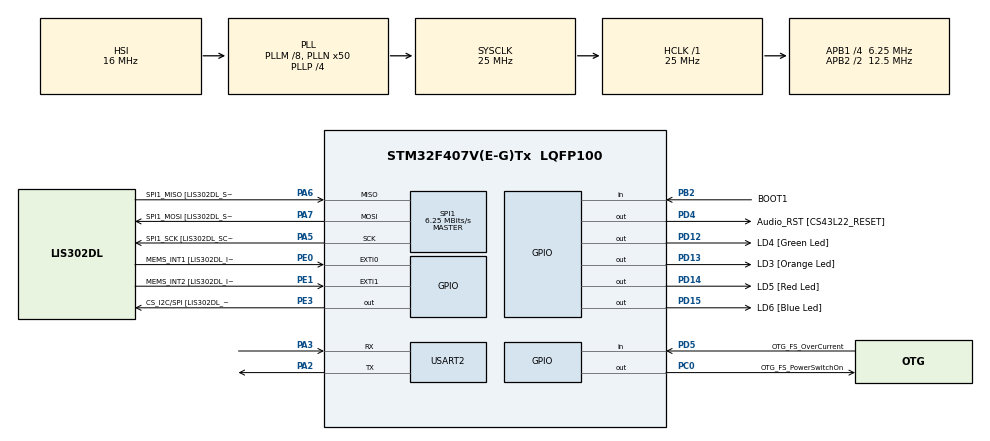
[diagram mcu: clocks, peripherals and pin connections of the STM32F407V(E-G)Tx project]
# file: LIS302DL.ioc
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Mcu.Family=STM32F4
Mcu.Name=STM32F407V(E-G)Tx
Mcu.Package=LQFP100
NVIC.PriorityGroup=NVIC_PRIORITYGROUP_0
PA10.GPIO_Label=OTG_FS_ID
PA10.GPIO_Mode=GPIO_MODE_AF_PP
PA10.GPIO_PuPd=GPIO_NOPULL
PA10.GPIO_Speed=GPIO_SPEED_FREQ_LOW
PA10.Signal=USB_OTG_FS_ID
PA11.GPIO_Label=OTG_FS_DM
PA11.GPIO_Mode=GPIO_MODE_AF_PP
PA11.GPIO_PuPd=GPIO_NOPULL
PA11.GPIO_Speed=GPIO_SPEED_FREQ_LOW
PA11.Signal=USB_OTG_FS_DM
PA12.GPIO_Label=OTG_FS_DP
PA12.GPIO_Mode=GPIO_MODE_AF_PP
PA12.GPIO_PuPd=GPIO_NOPULL
PA12.GPIO_Speed=GPIO_SPEED_FREQ_LOW
PA12.Signal=USB_OTG_FS_DP
PA13.GPIO_Label=SWDIO
PA13.Signal=SYS_JTMS-SWDIO
PA14.GPIO_Label=SWCLK
PA14.Signal=SYS_JTCK-SWCLK
PA2.Mode=Asynchronous
PA2.Signal=USART2_TX
PA3.Mode=Asynchronous
PA3.Signal=USART2_RX
PA4.GPIO_Label=I2S3_WS [CS43L22_LRCK]
PA4.GPIO_Mode=GPIO_MODE_AF_PP
PA4.GPIO_PuPd=GPIO_NOPULL
PA4.GPIO_Speed=GPIO_SPEED_FREQ_LOW
PA4.Signal=I2S3_WS
PA5.GPIO_Label=SPI1_SCK [LIS302DL_SCL/SPC]
PA5.GPIO_Mode=GPIO_MODE_AF_PP
PA5.GPIO_PuPd=GPIO_NOPULL
PA5.GPIO_Speed=GPIO_SPEED_FREQ_LOW
PA5.Mode=Full_Duplex_Master
PA5.Signal=SPI1_SCK
PA6.GPIO_Label=SPI1_MISO [LIS302DL_SDO]
PA6.GPIO_Mode=GPIO_MODE_AF_PP
PA6.GPIO_PuPd=GPIO_NOPULL
PA6.GPIO_Speed=GPIO_SPEED_FREQ_LOW
PA6.Mode=Full_Duplex_Master
PA6.Signal=SPI1_MISO
PA7.GPIO_Label=SPI1_MOSI [LIS302DL_SDA/SDI/SDO]
PA7.GPIO_Mode=GPIO_MODE_AF_PP
PA7.GPIO_PuPd=GPIO_NOPULL
PA7.GPIO_Speed=GPIO_SPEED_FREQ_LOW
PA7.Mode=Full_Duplex_Master
PA7.Signal=SPI1_MOSI
PA9.GPIO_Label=VBUS_FS
PA9.GPIO_Mode=GPIO_MODE_INPUT
PA9.GPIO_PuPd=GPIO_NOPULL
PA9.Signal=USB_OTG_FS_VBUS
PB10.GPIO_Label=CLK_IN [MP45DT02_CLK]
PB10.GPIO_Mode=GPIO_MODE_AF_PP
PB10.GPIO_PuPd=GPIO_NOPULL
PB10.GPIO_Speed=GPIO_SPEED_FREQ_LOW
PB10.Signal=I2S2_CK
PB2.GPIO_Label=BOOT1
PB2.GPIO_Mode=GPIO_MODE_INPUT
PB2.GPIO_PuPd=GPIO_NOPULL
PB2.Signal=GPIO_Input
PB3.GPIO_Label=SWO
PB3.Signal=SYS_JTDO-SWO
PB6.GPIO_Label=Audio_SCL [CS43L22_SCL]
PB6.GPIO_Mode=GPIO_MODE_AF_OD
PB6.GPIO_PuPd=GPIO_NOPULL
PB6.GPIO_Speed=GPIO_SPEED_FREQ_LOW
PB6.Signal=I2C1_SCL
PB9.GPIO_Label=Audio_SDA [CS43L22_SDA]
PB9.GPIO_Mode=GPIO_MODE_AF_OD
PB9.GPIO_PuPd=GPIO_NOPULL
PB9.GPIO_Speed=GPIO_SPEED_FREQ_LOW
PB9.Signal=I2C1_SDA
PC0.GPIO_Label=OTG_FS_PowerSwitchOn
PC0.GPIO_PuPd=GPIO_NOPULL
PC0.GPIO_Speed=GPIO_SPEED_FREQ_LOW
PC0.PinState=GPIO_PIN_SET
PC0.Signal=GPIO_Output
PC10.GPIO_Label=I2S3_SCK [CS43L22_SCLK]
PC10.GPIO_Mode=GPIO_MODE_AF_PP
PC10.GPIO_PuPd=GPIO_NOPULL
PC10.GPIO_Speed=GPIO_SPEED_FREQ_LOW
PC10.Signal=I2S3_CK
PC12.GPIO_Label=I2S3_SD [CS43L22_SDIN]
PC12.GPIO_Mode=GPIO_MODE_AF_PP
PC12.GPIO_PuPd=GPIO_NOPULL
PC12.GPIO_Speed=GPIO_SPEED_FREQ_LOW
PC12.Signal=I2S3_SD
PC14-OSC32_IN.GPIO_Label=PC14-OSC32_IN
PC14-OSC32_IN.Signal=RCC_OSC32_IN
PC15-OSC32_OUT.GPIO_Label=PC15-OSC32_OUT
PC15-OSC32_OUT.Signal=RCC_OSC32_OUT
PC3.GPIO_Label=PDM_OUT [MP45DT02_DOUT]
PC3.GPIO_Mode=GPIO_MODE_AF_PP
PC3.GPIO_PuPd=GPIO_NOPULL
PC3.GPIO_Speed=GPIO_SPEED_FREQ_LOW
PC3.Signal=I2S2_SD
PC7.GPIO_Label=I2S3_MCK [CS43L22_MCLK]
PC7.GPIO_Mode=GPIO_MODE_AF_PP
PC7.GPIO_PuPd=GPIO_NOPULL
PC7.GPIO_Speed=GPIO_SPEED_FREQ_LOW
PC7.Signal=I2S3_MCK
PD12.GPIO_Label=LD4 [Green Led]
PD12.GPIO_PuPd=GPIO_NOPULL
PD12.GPIO_Speed=GPIO_SPEED_FREQ_LOW
PD12.Signal=GPIO_Output
PD13.GPIO_Label=LD3 [Orange Led]
PD13.GPIO_PuPd=GPIO_NOPULL
PD13.GPIO_Speed=GPIO_SPEED_FREQ_LOW
PD13.Signal=GPIO_Output
PD14.GPIO_Label=LD5 [Red Led]
PD14.GPIO_PuPd=GPIO_NOPULL
PD14.GPIO_Speed=GPIO_SPEED_FREQ_LOW
PD14.Signal=GPIO_Output
PD15.GPIO_Label=LD6 [Blue Led]
PD15.GPIO_PuPd=GPIO_NOPULL
PD15.GPIO_Speed=GPIO_SPEED_FREQ_LOW
PD15.Signal=GPIO_Output
PD4.GPIO_Label=Audio_RST [CS43L22_RESET]
PD4.GPIO_PuPd=GPIO_NOPULL
PD4.GPIO_Speed=GPIO_SPEED_FREQ_LOW
PD4.Signal=GPIO_Output
PD5.GPIO_Label=OTG_FS_OverCurrent
PD5.GPIO_Mode=GPIO_MODE_INPUT
PD5.GPIO_PuPd=GPIO_NOPULL
PD5.Signal=GPIO_Input
PE0.GPIO_Label=MEMS_INT1 [LIS302DL_INT1]
PE0.Signal=GPXTI0
PE1.GPIO_Label=MEMS_INT2 [LIS302DL_INT2]
PE1.GPIO_ModeDefaultEXTI=GPIO_MODE_EVT_RISING
PE1.GPIO_PuPd=GPIO_NOPULL
PE1.Signal=GPXTI1
PE3.GPIO_Label=CS_I2C/SPI [LIS302DL_CS_I2C/SPI]
PE3.GPIO_PuPd=GPIO_NOPULL
PE3.GPIO_Speed=GPIO_SPEED_FREQ_LOW
PE3.Signal=GPIO_Output
PH0-OSC_IN.GPIO_Label=PH0-OSC_IN
PH0-OSC_IN.Signal=RCC_OSC_IN
PH1-OSC_OUT.GPIO_Label=PH1-OSC_OUT
PH1-OSC_OUT.Signal=RCC_OSC_OUT
ProjectManager.HeapSize=0x200
ProjectManager.StackSize=0x400
ProjectManager.TargetToolchain=MDK-ARM V5
RCC.48MHZClocksFreq_Value=14285714.285714285
RCC.AHBFreq_Value=25000000
RCC.APB1CLKDivider=RCC_HCLK_DIV4
RCC.APB1Freq_Value=6250000
RCC.APB1TimFreq_Value=12500000
RCC.APB2CLKDivider=RCC_HCLK_DIV2
RCC.APB2Freq_Value=12500000
RCC.APB2TimFreq_Value=25000000
RCC.CortexFreq_Value=25000000
RCC.HCLKFreq_Value=25000000
RCC.HSE_VALUE=8000000
RCC.HSI_VALUE=16000000
RCC.LSE_VALUE=32768
RCC.PLLM=8
RCC.PLLN=50
RCC.PLLP=RCC_PLLP_DIV4
RCC.PLLQ=7
RCC.SYSCLKFreq_VALUE=25000000
RCC.SYSCLKSource=RCC_SYSCLKSOURCE_PLLCLK
RCC.VCOOutputFreq_Value=100000000
SPI1.CalculateBaudRate=6.25 MBits/s
SPI1.Mode=SPI_MODE_MASTER
board=STM32F407G-DISC1

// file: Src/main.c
/**
  ******************************************************************************
  * File Name          : main.c
  * Description        : Main program body
  ******************************************************************************
  *
  * COPYRIGHT(c) 2016 STMicroelectronics
  *
  * Redistribution and use in source and binary forms, with or without modification,
  * are permitted provided that the following conditions are met:
  *   1. Redistributions of source code must retain the above copyright notice,
  *      this list of conditions and the following disclaimer.
  *   2. Redistributions in binary form must reproduce the above copyright notice,
  *      this list of conditions and the following disclaimer in the documentation
  *      and/or other materials provided with the distribution.
  *   3. Neither the name of STMicroelectronics nor the names of its contributors
  *      may be used to endorse or promote products derived from this software
  *      without specific prior written permission.
  *
  * THIS SOFTWARE IS PROVIDED BY THE COPYRIGHT HOLDERS AND CONTRIBUTORS "AS IS"
  * AND ANY EXPRESS OR IMPLIED WARRANTIES, INCLUDING, BUT NOT LIMITED TO, THE
  * IMPLIED WARRANTIES OF MERCHANTABILITY AND FITNESS FOR A PARTICULAR PURPOSE ARE
  * DISCLAIMED. IN NO EVENT SHALL THE COPYRIGHT HOLDER OR CONTRIBUTORS BE LIABLE
  * FOR ANY DIRECT, INDIRECT, INCIDENTAL, SPECIAL, EXEMPLARY, OR CONSEQUENTIAL
  * DAMAGES (INCLUDING, BUT NOT LIMITED TO, PROCUREMENT OF SUBSTITUTE GOODS OR
  * SERVICES; LOSS OF USE, DATA, OR PROFITS; OR BUSINESS INTERRUPTION) HOWEVER
  * CAUSED AND ON ANY THEORY OF LIABILITY, WHETHER IN CONTRACT, STRICT LIABILITY,
  * OR TORT (INCLUDING NEGLIGENCE OR OTHERWISE) ARISING IN ANY WAY OUT OF THE USE
  * OF THIS SOFTWARE, EVEN IF ADVISED OF THE POSSIBILITY OF SUCH DAMAGE.
  *
  ******************************************************************************
  */
#include "main.h"
#include "stm32f4xx_hal.h"

/* USER CODE BEGIN Includes */
#include <string.h>
/* USER CODE END Includes */

SPI_HandleTypeDef hspi1;

UART_HandleTypeDef huart2;

/* USER CODE BEGIN PV */
/* Private variables ---------------------------------------------------------*/

/* USER CODE END PV */

void SystemClock_Config(void);
void Error_Handler(void);
static void MX_GPIO_Init(void);
static void MX_SPI1_Init(void);
static void MX_USART2_UART_Init(void);

/* USER CODE BEGIN PFP */
/* Private function prototypes -----------------------------------------------*/
void Init_Accel(void);
void Get_Accel(void);
void Print_Accel(int8_t,int8_t,int8_t);
void On_LED_Accel(int8_t,int8_t,int8_t);
/* USER CODE END PFP */

int main(void)
{

  /* MCU Configuration----------------------------------------------------------*/

  /* Reset of all peripherals, Initializes the Flash interface and the Systick. */
  HAL_Init();

  /* Configure the system clock */
  SystemClock_Config();

  /* Initialize all configured peripherals */
  MX_GPIO_Init();
  MX_SPI1_Init();
  MX_USART2_UART_Init();

  /* USER CODE BEGIN 2 */
	Init_Accel();
  /* USER CODE END 2 */

  /* Infinite loop */
  while (1)
  {

  /* USER CODE BEGIN 3 */
		Get_Accel();
		HAL_Delay(150);
  }
  /* USER CODE END 3 */

}

/** System Clock Configuration
*/
void SystemClock_Config(void)
{

  RCC_OscInitTypeDef RCC_OscInitStruct;
  RCC_ClkInitTypeDef RCC_ClkInitStruct;

    /**Configure the main internal regulator output voltage
    */
  __HAL_RCC_PWR_CLK_ENABLE();

  __HAL_PWR_VOLTAGESCALING_CONFIG(PWR_REGULATOR_VOLTAGE_SCALE1);

    /**Initializes the CPU, AHB and APB busses clocks
    */
  RCC_OscInitStruct.OscillatorType = RCC_OSCILLATORTYPE_HSI;
  RCC_OscInitStruct.HSIState = RCC_HSI_ON;
  RCC_OscInitStruct.HSICalibrationValue = 16;
  RCC_OscInitStruct.PLL.PLLState = RCC_PLL_ON;
  RCC_OscInitStruct.PLL.PLLSource = RCC_PLLSOURCE_HSI;
  RCC_OscInitStruct.PLL.PLLM = 8;
  RCC_OscInitStruct.PLL.PLLN = 50;
  RCC_OscInitStruct.PLL.PLLP = RCC_PLLP_DIV4;
  RCC_OscInitStruct.PLL.PLLQ = 7;
  if (HAL_RCC_OscConfig(&RCC_OscInitStruct) != HAL_OK)
  {
    Error_Handler();
  }

    /**Initializes the CPU, AHB and APB busses clocks
    */
  RCC_ClkInitStruct.ClockType = RCC_CLOCKTYPE_HCLK|RCC_CLOCKTYPE_SYSCLK
                              |RCC_CLOCKTYPE_PCLK1|RCC_CLOCKTYPE_PCLK2;
  RCC_ClkInitStruct.SYSCLKSource = RCC_SYSCLKSOURCE_PLLCLK;
  RCC_ClkInitStruct.AHBCLKDivider = RCC_SYSCLK_DIV1;
  RCC_ClkInitStruct.APB1CLKDivider = RCC_HCLK_DIV4;
  RCC_ClkInitStruct.APB2CLKDivider = RCC_HCLK_DIV2;

  if (HAL_RCC_ClockConfig(&RCC_ClkInitStruct, FLASH_LATENCY_0) != HAL_OK)
  {
    Error_Handler();
  }

    /**Configure the Systick interrupt time
    */
  HAL_SYSTICK_Config(HAL_RCC_GetHCLKFreq()/1000);

    /**Configure the Systick
    */
  HAL_SYSTICK_CLKSourceConfig(SYSTICK_CLKSOURCE_HCLK);

  /* SysTick_IRQn interrupt configuration */
  HAL_NVIC_SetPriority(SysTick_IRQn, 0, 0);
}

/* SPI1 init function */
static void MX_SPI1_Init(void)
{

  hspi1.Instance = SPI1;
  hspi1.Init.Mode = SPI_MODE_MASTER;
  hspi1.Init.Direction = SPI_DIRECTION_2LINES;
  hspi1.Init.DataSize = SPI_DATASIZE_8BIT;
  hspi1.Init.CLKPolarity = SPI_POLARITY_LOW;
  hspi1.Init.CLKPhase = SPI_PHASE_1EDGE;
  hspi1.Init.NSS = SPI_NSS_SOFT;
  hspi1.Init.BaudRatePrescaler = SPI_BAUDRATEPRESCALER_2;
  hspi1.Init.FirstBit = SPI_FIRSTBIT_MSB;
  hspi1.Init.TIMode = SPI_TIMODE_DISABLE;
  hspi1.Init.CRCCalculation = SPI_CRCCALCULATION_DISABLE;
  hspi1.Init.CRCPolynomial = 10;
  if (HAL_SPI_Init(&hspi1) != HAL_OK)
  {
    Error_Handler();
  }

}

/* USART2 init function */
static void MX_USART2_UART_Init(void)
{

  huart2.Instance = USART2;
  huart2.Init.BaudRate = 115200;
  huart2.Init.WordLength = UART_WORDLENGTH_8B;
  huart2.Init.StopBits = UART_STOPBITS_1;
  huart2.Init.Parity = UART_PARITY_NONE;
  huart2.Init.Mode = UART_MODE_TX_RX;
  huart2.Init.HwFlowCtl = UART_HWCONTROL_NONE;
  huart2.Init.OverSampling = UART_OVERSAMPLING_16;
  if (HAL_UART_Init(&huart2) != HAL_OK)
  {
    Error_Handler();
  }

}

/** Configure pins as
        * Analog
        * Input
        * Output
        * EVENT_OUT
        * EXTI
     PC3   ------> I2S2_SD
     PA4   ------> I2S3_WS
     PB10   ------> I2S2_CK
     PC7   ------> I2S3_MCK
     PA9   ------> USB_OTG_FS_VBUS
     PA10   ------> USB_OTG_FS_ID
     PA11   ------> USB_OTG_FS_DM
     PA12   ------> USB_OTG_FS_DP
     PC10   ------> I2S3_CK
     PC12   ------> I2S3_SD
     PB6   ------> I2C1_SCL
     PB9   ------> I2C1_SDA
*/
static void MX_GPIO_Init(void)
{

  GPIO_InitTypeDef GPIO_InitStruct;

  /* GPIO Ports Clock Enable */
  __HAL_RCC_GPIOE_CLK_ENABLE();
  __HAL_RCC_GPIOC_CLK_ENABLE();
  __HAL_RCC_GPIOH_CLK_ENABLE();
  __HAL_RCC_GPIOA_CLK_ENABLE();
  __HAL_RCC_GPIOB_CLK_ENABLE();
  __HAL_RCC_GPIOD_CLK_ENABLE();

  /*Configure GPIO pin Output Level */
  HAL_GPIO_WritePin(CS_I2C_SPI_GPIO_Port, CS_I2C_SPI_Pin, GPIO_PIN_RESET);

  /*Configure GPIO pin Output Level */
  HAL_GPIO_WritePin(OTG_FS_PowerSwitchOn_GPIO_Port, OTG_FS_PowerSwitchOn_Pin, GPIO_PIN_SET);

  /*Configure GPIO pin Output Level */
  HAL_GPIO_WritePin(GPIOD, LD4_Pin|LD3_Pin|LD5_Pin|LD6_Pin
                          |Audio_RST_Pin, GPIO_PIN_RESET);

  /*Configure GPIO pin : CS_I2C_SPI_Pin */
  GPIO_InitStruct.Pin = CS_I2C_SPI_Pin;
  GPIO_InitStruct.Mode = GPIO_MODE_OUTPUT_PP;
  GPIO_InitStruct.Pull = GPIO_NOPULL;
  GPIO_InitStruct.Speed = GPIO_SPEED_FREQ_LOW;
  HAL_GPIO_Init(CS_I2C_SPI_GPIO_Port, &GPIO_InitStruct);

  /*Configure GPIO pin : OTG_FS_PowerSwitchOn_Pin */
  GPIO_InitStruct.Pin = OTG_FS_PowerSwitchOn_Pin;
  GPIO_InitStruct.Mode = GPIO_MODE_OUTPUT_PP;
  GPIO_InitStruct.Pull = GPIO_NOPULL;
  GPIO_InitStruct.Speed = GPIO_SPEED_FREQ_LOW;
  HAL_GPIO_Init(OTG_FS_PowerSwitchOn_GPIO_Port, &GPIO_InitStruct);

  /*Configure GPIO pin : PDM_OUT_Pin */
  GPIO_InitStruct.Pin = PDM_OUT_Pin;
  GPIO_InitStruct.Mode = GPIO_MODE_AF_PP;
  GPIO_InitStruct.Pull = GPIO_NOPULL;
  GPIO_InitStruct.Speed = GPIO_SPEED_FREQ_LOW;
  GPIO_InitStruct.Alternate = GPIO_AF5_SPI2;
  HAL_GPIO_Init(PDM_OUT_GPIO_Port, &GPIO_InitStruct);

  /*Configure GPIO pin : PA4 */
  GPIO_InitStruct.Pin = GPIO_PIN_4;
  GPIO_InitStruct.Mode = GPIO_MODE_AF_PP;
  GPIO_InitStruct.Pull = GPIO_NOPULL;
  GPIO_InitStruct.Speed = GPIO_SPEED_FREQ_LOW;
  GPIO_InitStruct.Alternate = GPIO_AF6_SPI3;
  HAL_GPIO_Init(GPIOA, &GPIO_InitStruct);

  /*Configure GPIO pin : BOOT1_Pin */
  GPIO_InitStruct.Pin = BOOT1_Pin;
  GPIO_InitStruct.Mode = GPIO_MODE_INPUT;
  GPIO_InitStruct.Pull = GPIO_NOPULL;
  HAL_GPIO_Init(BOOT1_GPIO_Port, &GPIO_InitStruct);

  /*Configure GPIO pin : CLK_IN_Pin */
  GPIO_InitStruct.Pin = CLK_IN_Pin;
  GPIO_InitStruct.Mode = GPIO_MODE_AF_PP;
  GPIO_InitStruct.Pull = GPIO_NOPULL;
  GPIO_InitStruct.Speed = GPIO_SPEED_FREQ_LOW;
  GPIO_InitStruct.Alternate = GPIO_AF5_SPI2;
  HAL_GPIO_Init(CLK_IN_GPIO_Port, &GPIO_InitStruct);

  /*Configure GPIO pins : LD4_Pin LD3_Pin LD5_Pin LD6_Pin
                           Audio_RST_Pin */
  GPIO_InitStruct.Pin = LD4_Pin|LD3_Pin|LD5_Pin|LD6_Pin
                          |Audio_RST_Pin;
  GPIO_InitStruct.Mode = GPIO_MODE_OUTPUT_PP;
  GPIO_InitStruct.Pull = GPIO_NOPULL;
  GPIO_InitStruct.Speed = GPIO_SPEED_FREQ_LOW;
  HAL_GPIO_Init(GPIOD, &GPIO_InitStruct);

  /*Configure GPIO pins : PC7 I2S3_SCK_Pin PC12 */
  GPIO_InitStruct.Pin = GPIO_PIN_7|I2S3_SCK_Pin|GPIO_PIN_12;
  GPIO_InitStruct.Mode = GPIO_MODE_AF_PP;
  GPIO_InitStruct.Pull = GPIO_NOPULL;
  GPIO_InitStruct.Speed = GPIO_SPEED_FREQ_LOW;
  GPIO_InitStruct.Alternate = GPIO_AF6_SPI3;
  HAL_GPIO_Init(GPIOC, &GPIO_InitStruct);

  /*Configure GPIO pin : VBUS_FS_Pin */
  GPIO_InitStruct.Pin = VBUS_FS_Pin;
  GPIO_InitStruct.Mode = GPIO_MODE_INPUT;
  GPIO_InitStruct.Pull = GPIO_NOPULL;
  HAL_GPIO_Init(VBUS_FS_GPIO_Port, &GPIO_InitStruct);

  /*Configure GPIO pins : OTG_FS_ID_Pin OTG_FS_DM_Pin OTG_FS_DP_Pin */
  GPIO_InitStruct.Pin = OTG_FS_ID_Pin|OTG_FS_DM_Pin|OTG_FS_DP_Pin;
  GPIO_InitStruct.Mode = GPIO_MODE_AF_PP;
  GPIO_InitStruct.Pull = GPIO_NOPULL;
  GPIO_InitStruct.Speed = GPIO_SPEED_FREQ_LOW;
  GPIO_InitStruct.Alternate = GPIO_AF10_OTG_FS;
  HAL_GPIO_Init(GPIOA, &GPIO_InitStruct);

  /*Configure GPIO pin : OTG_FS_OverCurrent_Pin */
  GPIO_InitStruct.Pin = OTG_FS_OverCurrent_Pin;
  GPIO_InitStruct.Mode = GPIO_MODE_INPUT;
  GPIO_InitStruct.Pull = GPIO_NOPULL;
  HAL_GPIO_Init(OTG_FS_OverCurrent_GPIO_Port, &GPIO_InitStruct);

  /*Configure GPIO pins : Audio_SCL_Pin Audio_SDA_Pin */
  GPIO_InitStruct.Pin = Audio_SCL_Pin|Audio_SDA_Pin;
  GPIO_InitStruct.Mode = GPIO_MODE_AF_OD;
  GPIO_InitStruct.Pull = GPIO_PULLUP;
  GPIO_InitStruct.Speed = GPIO_SPEED_FREQ_LOW;
  GPIO_InitStruct.Alternate = GPIO_AF4_I2C1;
  HAL_GPIO_Init(GPIOB, &GPIO_InitStruct);

  /*Configure GPIO pin : MEMS_INT1_Pin */
  GPIO_InitStruct.Pin = MEMS_INT1_Pin;
  GPIO_InitStruct.Mode = GPIO_MODE_IT_RISING;
  GPIO_InitStruct.Pull = GPIO_NOPULL;
  HAL_GPIO_Init(MEMS_INT1_GPIO_Port, &GPIO_InitStruct);

  /*Configure GPIO pin : MEMS_INT2_Pin */
  GPIO_InitStruct.Pin = MEMS_INT2_Pin;
  GPIO_InitStruct.Mode = GPIO_MODE_EVT_RISING;
  GPIO_InitStruct.Pull = GPIO_NOPULL;
  HAL_GPIO_Init(MEMS_INT2_GPIO_Port, &GPIO_InitStruct);

}

/* USER CODE BEGIN 4 */
void Init_Accel(){
	HAL_GPIO_WritePin(GPIOE,GPIO_PIN_3,GPIO_PIN_RESET); //PE3 CS_I2C/SPI (chip select)
  uint8_t address = 0x20; //CTRL_REG1 (20h)
  HAL_SPI_Transmit(&hspi1,&address,1,50);

  uint8_t data = 0x47; // 0100 0111   bit[7:0](bit 5 FS 0=+-2g 1=+-8g)
  HAL_SPI_Transmit(&hspi1,&data,1,50);
  HAL_GPIO_WritePin(GPIOE,GPIO_PIN_3,GPIO_PIN_SET);
}
void Get_Accel(){
	uint8_t address;
	int8_t x,y,z;
	//Receive
	HAL_GPIO_WritePin(GPIOE,GPIO_PIN_3,GPIO_PIN_RESET);

  address = 0x29 | 0x80; // OUT_X (29h)
  // Combine with Read bit(bit 0). 0010 1001 | 1000 0000
  HAL_SPI_Transmit(&hspi1,&address,1,50);
  HAL_SPI_Receive(&hspi1,&x,1,50);

	address = 0x2B | 0x80; // OUT_Y (2Bh)
	HAL_SPI_Transmit(&hspi1,&address,1,50);
  HAL_SPI_Receive(&hspi1,&y,1,50);

  address = 0x2D | 0x80; //OUT_Z (2Dh)
  HAL_SPI_Transmit(&hspi1,&address,1,50);
  HAL_SPI_Receive(&hspi1,&z,1,50);

  HAL_GPIO_WritePin(GPIOE,GPIO_PIN_3,GPIO_PIN_SET);

	On_LED_Accel(x,y,z);
	Print_Accel(x,y,z);
}
void Print_Accel(int8_t x,int8_t y,int8_t z){
	//UART
	char out[100];
	int size;
	int16_t xout = (x * 9.8 * (4000.0/127) / 1000.0);
	int16_t yout = (y * 9.8 * (4000.0/127) / 1000.0);
	int16_t zout = (z * 9.8 * (4000.0/127) / 1000.0);
	size = sprintf(out,"Accelerometer  x = %d   :   y = %d   :   z = %d \n\r",xout,yout,zout);
  HAL_UART_Transmit(&huart2,(uint8_t*)out,size,1000);
  HAL_Delay(200);
}
void On_LED_Accel(int8_t x,int8_t y,int8_t z){
	//up
	if (y >= 15) HAL_GPIO_WritePin(GPIOD,GPIO_PIN_13,GPIO_PIN_SET);
	else HAL_GPIO_WritePin(GPIOD,GPIO_PIN_13,GPIO_PIN_RESET);
	//left
	if (x <= -15) HAL_GPIO_WritePin(GPIOD,GPIO_PIN_12,GPIO_PIN_SET);
	else HAL_GPIO_WritePin(GPIOD,GPIO_PIN_12,GPIO_PIN_RESET);
	//right
	if (x >= 15)HAL_GPIO_WritePin(GPIOD,GPIO_PIN_14,GPIO_PIN_SET);
	else HAL_GPIO_WritePin(GPIOD,GPIO_PIN_14,GPIO_PIN_RESET);
	//down
	if (y <= -15) HAL_GPIO_WritePin(GPIOD,GPIO_PIN_15,GPIO_PIN_SET);
	else HAL_GPIO_WritePin(GPIOD,GPIO_PIN_15,GPIO_PIN_RESET);
}
/* USER CODE END 4 */

void Error_Handler(void)
{
  while(1)
  {
  }
}

/************************ (C) COPYRIGHT STMicroelectronics *****END OF FILE****/
